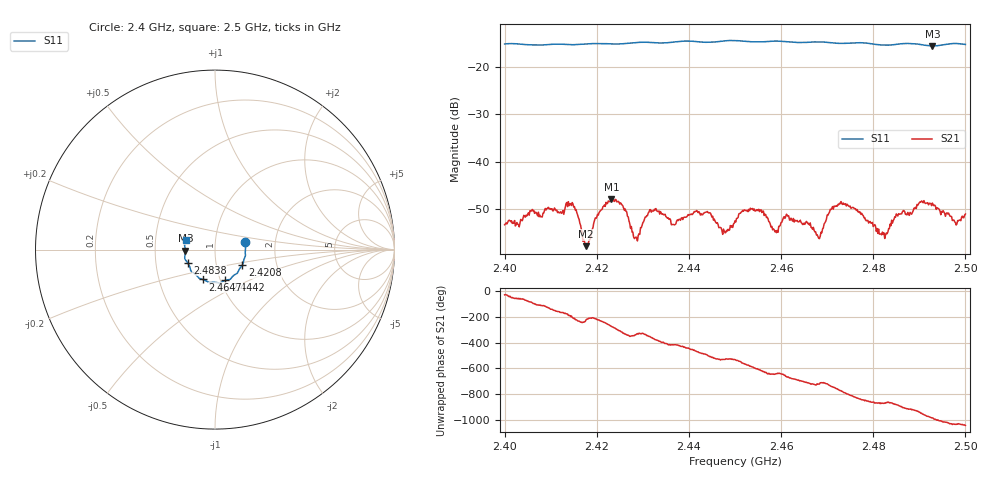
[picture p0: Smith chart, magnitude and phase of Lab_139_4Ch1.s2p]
# Hz S RI R 50
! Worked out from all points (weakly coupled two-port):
!   601 points, 2.4 GHz to 2.5 GHz, reference 50 ohm
!   highest |S21| = -47.89 dB at 2.4232 GHz (marker M1); lowest = -57.8 dB at 2.4177 GHz (marker M2)
!   lowest |S11| = -15.6 dB at 2.4928 GHz (marker M3), VSWR 1.40, Z = 35.8 - j0.382 ohm
!   |S11| at or under -10 dB: start of sweep to end of sweep
!   S12 and S22 are empty: the file has one direction only
!   S11 on the Smith chart (normalised r, x): 2.4 GHz: 1.40, +0.12; 2.4208 GHz: 1.33, -0.24; 2.4442 GHz: 1.05, -0.37; 2.4647 GHz: 0.83, -0.29; 2.4838 GHz: 0.73, -0.11; 2.5 GHz: 0.72, +0.08
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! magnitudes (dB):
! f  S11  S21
! 2.4 GHz  -15.2  -53.3
! 2.4143 GHz  -15.4  -48.9
! 2.4167 GHz  -15.3  -54.2
! 2.4177 GHz  -15.2  -57.8
! 2.4208 GHz  -15.1  -50.3
! 2.4232 GHz  -15.2  -47.9
! 2.4285 GHz  -14.9  -55.9
! 2.4333 GHz  -15.0  -50.5
! 2.4367 GHz  -14.8  -53.2
! 2.4442 GHz  -14.9  -50.7
! 2.4477 GHz  -14.6  -54.6
! 2.45 GHz  -14.5  -52.5
! 2.4537 GHz  -14.8  -49.9
! 2.4588 GHz  -14.6  -54.6
! 2.4647 GHz  -14.9  -53.2
! 2.4667 GHz  -14.8  -53.9
! 2.4683 GHz  -14.8  -56.2
! 2.4732 GHz  -15.1  -48.8
! 2.4833 GHz  -15.5  -54.1
! 2.4838 GHz  -15.4  -53.5
! 2.4928 GHz  -15.6  -48.7
! 2.5 GHz  -15.3  -51.0
